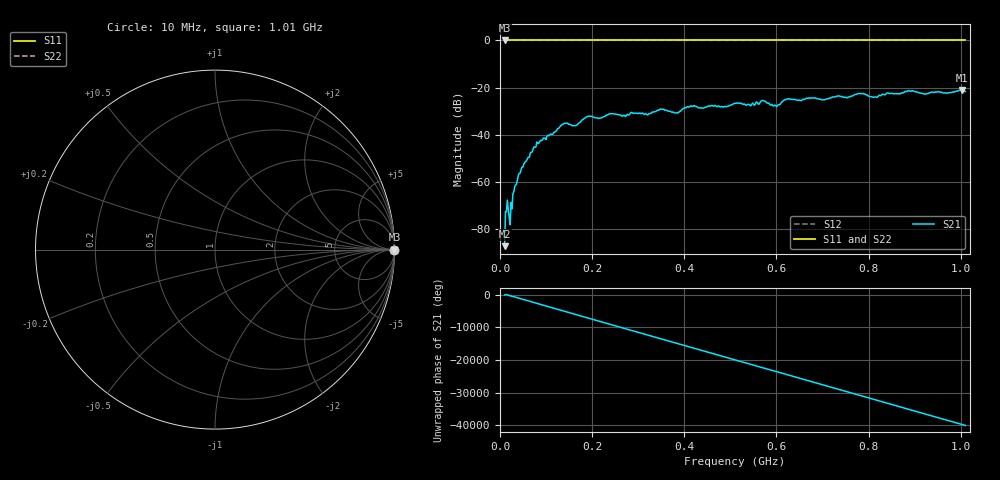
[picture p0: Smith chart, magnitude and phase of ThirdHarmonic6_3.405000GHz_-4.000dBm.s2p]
! 8/17/2025 10:53:06 AM
! C:\ANRITSUVNA\TEMP\TEMP.S2P
! CHANNEL.1
! TR.MEASUREMENT
! RAW.DATA
! RF.CORRECTION.OFF
! AVERAGING.OFF
! IF.BANDWIDTH: 5KHZ
! SWEEPTYPE:  FREQ.SWEEP(Linear)
! Reference Plane Port Info
! PORT:  PORT1  PORT2
! DISTANCE:  0  m  0  m
! TIME:  0  s  0  s
! PHASE.OFFSET:  0  deg.  0  deg.
! LOSS:  0  dB  0  dB
! REF.LOSS:  0  dB  0  dB
! REF.FREQ:  0  Hz  0  Hz
! Power Info
! POWER:  -20  dBm  -20  dBm
! EFF.POWER:  -20  dBm  -20  dBm
! SOURCE.ATTEN:  0  dB  0  dB
! TEST.ATTEN:  0  dB  0  dB
# GHZ S RI R 50.0
! FREQ.GHZ  S11RE  S11IM  S21RE  S21IM  S12RE  S12IM  S22RE  S22IM
!; PortSelection: Port_12
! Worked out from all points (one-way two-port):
!   501 points, 10 MHz to 1.01 GHz, reference 50 ohm
!   highest |S21| = -20.95 dB at 1.002 GHz (marker M1); lowest = -87.2 dB at 10 MHz (marker M2)
!   lowest |S11| = 0.0 dB at 10 MHz (marker M3)
!   |S11| at or under -10 dB: nowhere
!   |S22| runs from 0.0 to 0.0 dB; largest |S21 - S12| = 1.1
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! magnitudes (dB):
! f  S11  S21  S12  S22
! 10 MHz  0.0  -87.2  0.0  0.0
! 16 MHz  0.0  -67.7  0.0  0.0
! 22 MHz  0.0  -78.2  0.0  0.0
! 32 MHz  0.0  -61.9  0.0  0.0
! 44 MHz  0.0  -56.2  0.0  0.0
! 76 MHz  0.0  -45.3  0.0  0.0
! 136 MHz  0.0  -35.6  0.0  0.0
! 162 MHz  0.0  -36.1  0.0  0.0
! 178 MHz  0.0  -33.7  0.0  0.0
! 192 MHz  0.0  -32.1  0.0  0.0
! 322 MHz  0.0  -31.3  0.0  0.0
! 344 MHz  0.0  -29.6  0.0  0.0
! 382 MHz  0.0  -30.7  0.0  0.0
! 410 MHz  0.0  -28.3  0.0  0.0
! 510 MHz  0.0  -26.7  0.0  0.0
! 572 MHz  0.0  -25.6  0.0  0.0
! 598 MHz  0.0  -27.5  0.0  0.0
! 624 MHz  0.0  -24.8  0.0  0.0
! 678 MHz  0.0  -24.4  0.0  0.0
! 844 MHz  0.0  -22.4  0.0  0.0
! 1.002 GHz  0.0  -21.0  0.0  0.0
! 1.01 GHz  0.0  -21.6  0.0  0.0
